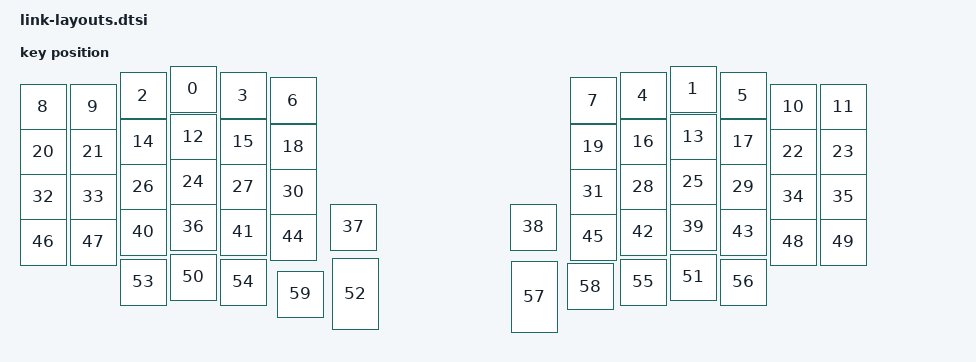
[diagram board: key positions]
#include <physical_layouts.dtsi>

/ {
    physical_layout0: physical_layout_0 {
        compatible = "zmk,physical-layout";
        display-name = "Default Layout";

        transform = <&default_transform>;

        keys  //                     w   h    x    y     rot    rx    ry
            = <&key_physical_attrs 100 100  300    0       0     0     0>
            , <&key_physical_attrs 100 100 1300    0       0     0     0>
            , <&key_physical_attrs 100 100  200   13       0     0     0>
            , <&key_physical_attrs 100 100  400   13       0     0     0>
            , <&key_physical_attrs 100 100 1200   13       0     0     0>
            , <&key_physical_attrs 100 100 1400   13       0     0     0>
            , <&key_physical_attrs 100 100  500   23       0     0     0>
            , <&key_physical_attrs 100 100 1100   23       0     0     0>
            , <&key_physical_attrs 100 100    0   36       0     0     0>
            , <&key_physical_attrs 100 100  100   36       0     0     0>
            , <&key_physical_attrs 100 100 1500   36       0     0     0>
            , <&key_physical_attrs 100 100 1600   36       0     0     0>
            , <&key_physical_attrs 100 100  300   96       0     0     0>
            , <&key_physical_attrs 100 100 1300   96       0     0     0>
            , <&key_physical_attrs 100 100  200  106       0     0     0>
            , <&key_physical_attrs 100 100  400  106       0     0     0>
            , <&key_physical_attrs 100 100 1200  106       0     0     0>
            , <&key_physical_attrs 100 100 1400  106       0     0     0>
            , <&key_physical_attrs 100 100  500  116       0     0     0>
            , <&key_physical_attrs 100 100 1100  116       0     0     0>
            , <&key_physical_attrs 100 100    0  126       0     0     0>
            , <&key_physical_attrs 100 100  100  126       0     0     0>
            , <&key_physical_attrs 100 100 1500  126       0     0     0>
            , <&key_physical_attrs 100 100 1600  126       0     0     0>
            , <&key_physical_attrs 100 100  300  186       0     0     0>
            , <&key_physical_attrs 100 100 1300  186       0     0     0>
            , <&key_physical_attrs 100 100  200  196       0     0     0>
            , <&key_physical_attrs 100 100  400  196       0     0     0>
            , <&key_physical_attrs 100 100 1200  196       0     0     0>
            , <&key_physical_attrs 100 100 1400  196       0     0     0>
            , <&key_physical_attrs 100 100  500  206       0     0     0>
            , <&key_physical_attrs 100 100 1100  206       0     0     0>
            , <&key_physical_attrs 100 100    0  216       0     0     0>
            , <&key_physical_attrs 100 100  100  216       0     0     0>
            , <&key_physical_attrs 100 100 1500  216       0     0     0>
            , <&key_physical_attrs 100 100 1600  216       0     0     0>
            , <&key_physical_attrs 100 100  300  276       0     0     0>
            , <&key_physical_attrs 100 100  620  276       0     0     0>
            , <&key_physical_attrs 100 100  980  276       0     0     0>
            , <&key_physical_attrs 100 100 1300  276       0     0     0>
            , <&key_physical_attrs 100 100  200  286       0     0     0>
            , <&key_physical_attrs 100 100  400  286       0     0     0>
            , <&key_physical_attrs 100 100 1200  286       0     0     0>
            , <&key_physical_attrs 100 100 1400  286       0     0     0>
            , <&key_physical_attrs 100 100  500  296       0     0     0>
            , <&key_physical_attrs 100 100 1100  296       0     0     0>
            , <&key_physical_attrs 100 100    0  306       0     0     0>
            , <&key_physical_attrs 100 100  100  306       0     0     0>
            , <&key_physical_attrs 100 100 1500  306       0     0     0>
            , <&key_physical_attrs 100 100 1600  306       0     0     0>
            , <&key_physical_attrs 100 100  300  376       0     0     0>
            , <&key_physical_attrs 100 100 1300  376       0     0     0>
            , <&key_physical_attrs 100 150  625  385       0     0     0>
            , <&key_physical_attrs 100 100  200  386       0     0     0>
            , <&key_physical_attrs 100 100  400  386       0     0     0>
            , <&key_physical_attrs 100 100 1200  386       0     0     0>
            , <&key_physical_attrs 100 100 1400  386       0     0     0>
            , <&key_physical_attrs 100 150  982  390       0     0     0>
            , <&key_physical_attrs 100 100 1095  395       0     0     0>
            , <&key_physical_attrs 100 100  515  410       0     0     0>
            ;
    };
};
